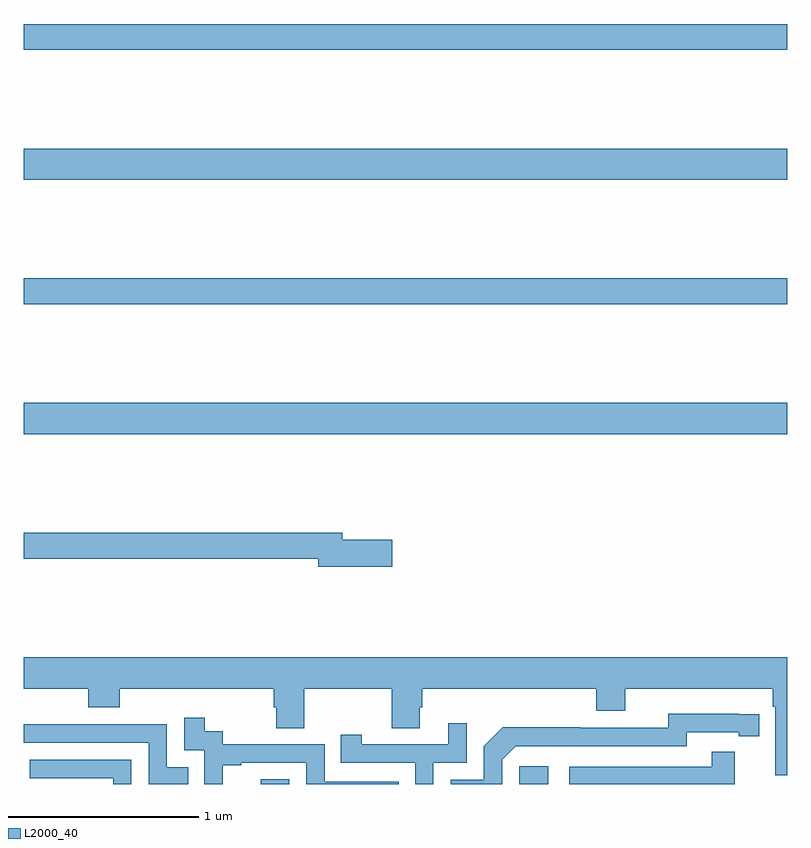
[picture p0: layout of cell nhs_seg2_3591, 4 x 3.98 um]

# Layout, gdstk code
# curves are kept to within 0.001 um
import gdstk
lib = gdstk.Library(unit=1e-6, precision=1e-09)
def R(c, l, rs):  # rectangles x0, y0, x1, y1
    for r in rs: c.add(gdstk.rectangle(r[:2], r[2:], *l))
def P(c, l, *ps):  # polygons
    for p in ps: c.add(gdstk.Polygon(p, *l))
L2000_40 = (2000, 40)

nhs_seg2_3591 = lib.new_cell('nhs_seg2_3591')
R(nhs_seg2_3591, L2000_40, [(300.243,649.8,300.39,649.825), (301.596,649.8,301.747,649.894), (299,651.632,303,651.796), (299,652.312,303,652.448), (299,652.964,303,653.128), (299,653.644,303,653.78)])
P(nhs_seg2_3591, L2000_40, [(300.931,651.08),(300.67,651.08),(300.67,651.116),(299,651.116),(299,650.98),(300.542,650.98),(300.542,650.938),(300.931,650.938)],
  [(303,650.464),(299,650.464),(299,650.3),(299.339,650.3),(299.339,650.201),(299.504,650.201),(299.504,650.3),(300.311,650.3),(300.311,650.202),(300.323,650.202),(300.323,650.092),(300.471,650.092),(300.471,650.3),(300.928,650.3),(300.928,650.092),(301.075,650.092),(301.075,650.202),(301.088,650.202),(301.088,650.3),(302,650.3),(302,650.183),(302.152,650.183),(302.152,650.3),(302.924,650.3),(302.924,650.204),(302.937,650.204),(302.937,649.845),(303,649.845)],
  [(301.506,649.926),(301.578,649.998),(302.472,649.998),(302.472,650.07),(302.744,650.07),(302.744,650.05),(302.852,650.05),(302.852,650.166),(302.376,650.167),(302.376,650.094),(301.916,650.094),(301.916,650.096),(301.508,650.096),(301.41,649.998),(301.41,649.821),(301.236,649.821),(301.236,649.8),(301.506,649.8)],
  [(300.044,649.899),(300.139,649.899),(300.139,649.911),(300.48,649.911),(300.48,649.8),(300.965,649.8),(300.965,649.812),(300.576,649.812),(300.576,650.007),(300.042,650.007),(300.042,650.076),(299.95,650.076),(299.95,650.146),(299.841,650.146),(299.841,649.977),(299.946,649.977),(299.946,649.8),(300.044,649.8)],
  [(301.146,649.911),(301.32,649.911),(301.32,650.119),(301.223,650.119),(301.223,650.007),(300.772,650.007),(300.772,650.059),(300.661,650.059),(300.661,649.911),(301.05,649.911),(301.05,649.8),(301.146,649.8)],
  [(299.861,649.887),(299.751,649.887),(299.751,650.112),(299.255,650.112),(299.255,650.114),(299,650.114),(299,650.016),(299.655,650.016),(299.655,649.8),(299.861,649.8)],
  [(302.723,649.969),(302.605,649.969),(302.605,649.89),(301.857,649.89),(301.857,649.8),(302.723,649.8)],
  [(299.565,649.926),(299.031,649.926),(299.031,649.83),(299.469,649.83),(299.469,649.8),(299.565,649.8)])

lib.write_gds('nhs_seg2_3591.gds')
